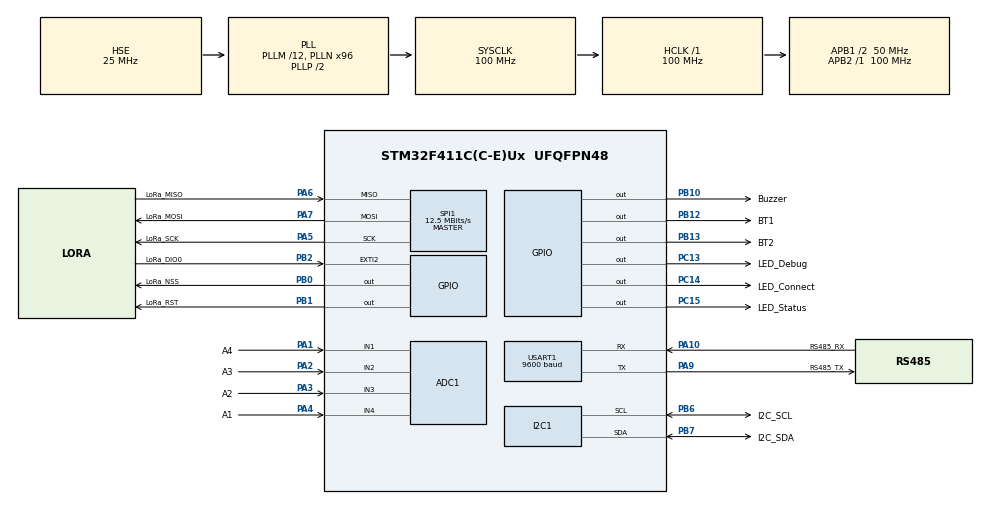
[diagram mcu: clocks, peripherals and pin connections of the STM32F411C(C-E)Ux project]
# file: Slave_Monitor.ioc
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ADC1.Channel-0\#ChannelRegularConversion=ADC_CHANNEL_1
ADC1.Channel-1\#ChannelRegularConversion=ADC_CHANNEL_2
ADC1.Channel-2\#ChannelRegularConversion=ADC_CHANNEL_3
ADC1.Channel-3\#ChannelRegularConversion=ADC_CHANNEL_4
ADC1.NbrOfConversion=4
ADC1.NbrOfConversionFlag=1
ADC1.Rank-0\#ChannelRegularConversion=1
ADC1.Rank-1\#ChannelRegularConversion=2
ADC1.Rank-2\#ChannelRegularConversion=3
ADC1.Rank-3\#ChannelRegularConversion=4
ADC1.SamplingTime-0\#ChannelRegularConversion=ADC_SAMPLETIME_3CYCLES
ADC1.SamplingTime-1\#ChannelRegularConversion=ADC_SAMPLETIME_3CYCLES
ADC1.SamplingTime-2\#ChannelRegularConversion=ADC_SAMPLETIME_3CYCLES
ADC1.SamplingTime-3\#ChannelRegularConversion=ADC_SAMPLETIME_3CYCLES
ADC1.master=1
Dma.ADC1.1.Direction=DMA_PERIPH_TO_MEMORY
Dma.ADC1.1.FIFOMode=DMA_FIFOMODE_DISABLE
Dma.ADC1.1.Instance=DMA2_Stream0
Dma.ADC1.1.MemDataAlignment=DMA_MDATAALIGN_HALFWORD
Dma.ADC1.1.MemInc=DMA_MINC_ENABLE
Dma.ADC1.1.Mode=DMA_CIRCULAR
Dma.ADC1.1.PeriphDataAlignment=DMA_PDATAALIGN_HALFWORD
Dma.ADC1.1.PeriphInc=DMA_PINC_DISABLE
Dma.ADC1.1.Priority=DMA_PRIORITY_LOW
Dma.Request0=USART1_RX
Dma.Request1=ADC1
Dma.USART1_RX.0.Direction=DMA_PERIPH_TO_MEMORY
Dma.USART1_RX.0.FIFOMode=DMA_FIFOMODE_DISABLE
Dma.USART1_RX.0.Instance=DMA2_Stream2
Dma.USART1_RX.0.MemDataAlignment=DMA_MDATAALIGN_BYTE
Dma.USART1_RX.0.MemInc=DMA_MINC_ENABLE
Dma.USART1_RX.0.Mode=DMA_CIRCULAR
Dma.USART1_RX.0.PeriphDataAlignment=DMA_PDATAALIGN_BYTE
Dma.USART1_RX.0.PeriphInc=DMA_PINC_DISABLE
Dma.USART1_RX.0.Priority=DMA_PRIORITY_LOW
Mcu.Family=STM32F4
Mcu.Name=STM32F411C(C-E)Ux
Mcu.Package=UFQFPN48
NVIC.DMA2_Stream0_IRQn=true\:0\:0\:false\:false\:true\:false\:true\:true
NVIC.DMA2_Stream2_IRQn=true\:0\:0\:false\:false\:true\:false\:true\:true
NVIC.EXTI2_IRQn=true\:0\:0\:false\:false\:true\:true\:true\:true
NVIC.PriorityGroup=NVIC_PRIORITYGROUP_4
PA1.GPIO_Label=A4
PA1.Signal=ADCx_IN1
PA10.GPIO_Label=RS485_RX
PA10.Mode=Asynchronous
PA10.Signal=USART1_RX
PA13.Mode=Serial_Wire
PA13.Signal=SYS_JTMS-SWDIO
PA14.Mode=Serial_Wire
PA14.Signal=SYS_JTCK-SWCLK
PA2.GPIO_Label=A3
PA2.Signal=ADCx_IN2
PA3.GPIO_Label=A2
PA3.Signal=ADCx_IN3
PA4.GPIO_Label=A1
PA4.Signal=ADCx_IN4
PA5.GPIO_Label=LoRa_SCK
PA5.Mode=Full_Duplex_Master
PA5.Signal=SPI1_SCK
PA6.GPIO_Label=LoRa_MISO
PA6.Mode=Full_Duplex_Master
PA6.Signal=SPI1_MISO
PA7.GPIO_Label=LoRa_MOSI
PA7.Mode=Full_Duplex_Master
PA7.Signal=SPI1_MOSI
PA9.GPIO_Label=RS485_TX
PA9.Mode=Asynchronous
PA9.Signal=USART1_TX
PB0.GPIO_Label=LoRa_NSS
PB0.PinState=GPIO_PIN_SET
PB0.Signal=GPIO_Output
PB1.GPIO_Label=LoRa_RST
PB1.PinState=GPIO_PIN_SET
PB1.Signal=GPIO_Output
PB10.GPIO_Label=Buzzer
PB10.Signal=GPIO_Output
PB12.GPIO_Label=BT1
PB12.Signal=GPIO_Output
PB13.GPIO_Label=BT2
PB13.Signal=GPIO_Output
PB2.GPIO_Label=LoRa_DIO0
PB2.Signal=GPXTI2
PB6.GPIO_Label=I2C_SCL
PB6.Mode=I2C
PB6.Signal=I2C1_SCL
PB7.GPIO_Label=I2C_SDA
PB7.Mode=I2C
PB7.Signal=I2C1_SDA
PC13-ANTI_TAMP.GPIO_Label=LED_Debug
PC13-ANTI_TAMP.Signal=GPIO_Output
PC14-OSC32_IN.GPIO_Label=LED_Connect
PC14-OSC32_IN.PinState=GPIO_PIN_SET
PC14-OSC32_IN.Signal=GPIO_Output
PC15-OSC32_OUT.GPIO_Label=LED_Status
PC15-OSC32_OUT.PinState=GPIO_PIN_SET
PC15-OSC32_OUT.Signal=GPIO_Output
PH0\ -\ OSC_IN.Mode=HSE-External-Oscillator
PH0\ -\ OSC_IN.Signal=RCC_OSC_IN
PH1\ -\ OSC_OUT.Mode=HSE-External-Oscillator
PH1\ -\ OSC_OUT.Signal=RCC_OSC_OUT
ProjectManager.HeapSize=0x200
ProjectManager.StackSize=0x400
ProjectManager.TargetToolchain=MDK-ARM V5
RCC.48MHZClocksFreq_Value=50000000
RCC.AHBFreq_Value=100000000
RCC.APB1CLKDivider=RCC_HCLK_DIV2
RCC.APB1Freq_Value=50000000
RCC.APB1TimFreq_Value=100000000
RCC.APB2Freq_Value=100000000
RCC.APB2TimFreq_Value=100000000
RCC.CortexFreq_Value=100000000
RCC.HCLKFreq_Value=100000000
RCC.HSE_VALUE=25000000
RCC.HSI_VALUE=16000000
RCC.LSE_VALUE=32768
RCC.PLLM=12
RCC.PLLN=96
RCC.PLLSourceVirtual=RCC_PLLSOURCE_HSE
RCC.SYSCLKFreq_VALUE=100000000
RCC.SYSCLKSource=RCC_SYSCLKSOURCE_PLLCLK
RCC.VCOOutputFreq_Value=200000000
SH.ADCx_IN1.0=ADC1_IN1,IN1
SH.ADCx_IN2.0=ADC1_IN2,IN2
SH.ADCx_IN3.0=ADC1_IN3,IN3
SH.ADCx_IN4.0=ADC1_IN4,IN4
SPI1.BaudRatePrescaler=SPI_BAUDRATEPRESCALER_8
SPI1.CalculateBaudRate=12.5 MBits/s
SPI1.Direction=SPI_DIRECTION_2LINES
SPI1.Mode=SPI_MODE_MASTER
SPI1.VirtualType=VM_MASTER
USART1.BaudRate=9600
USART1.VirtualMode=VM_ASYNC
board=custom

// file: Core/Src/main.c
/* USER CODE BEGIN Header */
/**
  ******************************************************************************
  * @file           : main.c
  * @brief          : Main program body
  ******************************************************************************
  * @attention
  *
  * Copyright (c) 2023 STMicroelectronics.
  * All rights reserved.
  *
  * This software is licensed under terms that can be found in the LICENSE file
  * in the root directory of this software component.
  * If no LICENSE file comes with this software, it is provided AS-IS.
  *
  ******************************************************************************
  */
/* USER CODE END Header */
#include "main.h"
#include "adc.h"
#include "dma.h"
#include "i2c.h"
#include "spi.h"
#include "usart.h"
#include "gpio.h"

/* USER CODE BEGIN Includes */
#include <stdlib.h>
#include "Lora.h"
#include "String.h"
#include "CLCD_I2C.h"
/* USER CODE END Includes */

/* USER CODE BEGIN PV */
//
#define address 0x42
#define func		0x30
// LCD
CLCD_I2C_Name mLCD;

// Lora
LoRa mLoRa;
uint8_t LoRa_status = 0;
uint8_t LoraData[128];
uint8_t loraSend[12];
// Time
unsigned long oldtime_1 = 0;
unsigned long oldtime_2 = 0;
unsigned long oldtime_3 = 0;
unsigned long timeDelay_1 = 1000;
unsigned long timeDelay_2 = 500;
unsigned long timeDelay_3 = 50;

// Event
uint8_t loraRCV = 0;
uint8_t rs485RCV = 0;

//RS485
uint8_t dataRS485[7];

// Sensor Value
uint8_t temp_Val[3];
uint8_t WL_Val[3];
uint8_t pH_Val[3];
uint8_t DO_Val[3];
/* USER CODE END PV */

void SystemClock_Config(void);
/* USER CODE BEGIN PFP */
void buzzerRun(void);
void blynkConnect(void);
void loraConnect(void);
void loraInit(void);
void monitorInit(void);
void getTemp(void);
void getWL(void);
void getpH(void);
void getDO(void);
/* USER CODE END PFP */

int main(void)
{

  /* MCU Configuration--------------------------------------------------------*/

  /* Reset of all peripherals, Initializes the Flash interface and the Systick. */
  HAL_Init();

  /* Configure the system clock */
  SystemClock_Config();

  /* Initialize all configured peripherals */
  MX_GPIO_Init();
  MX_DMA_Init();
  MX_SPI1_Init();
  MX_USART1_UART_Init();
  MX_ADC1_Init();
  MX_I2C1_Init();
  /* USER CODE BEGIN 2 */
	monitorInit();
	CLCD_I2C_Clear(&mLCD);
	CLCD_I2C_SetCursor(&mLCD, 1, 0);
	CLCD_I2C_WriteString(&mLCD, "SLAVE MONITOR");
	CLCD_I2C_SetCursor(&mLCD, 3, 1);
	CLCD_I2C_WriteString(&mLCD, "MDF GROUP");
  /* USER CODE END 2 */

  /* Infinite loop */
  /* USER CODE BEGIN WHILE */
  while (1)
  {
		if ((unsigned long) (HAL_GetTick() - oldtime_1) > timeDelay_1) {
			loraConnect();
			HAL_GPIO_TogglePin(LED_Debug_GPIO_Port, LED_Debug_Pin);
			oldtime_1 = HAL_GetTick();
		}
		if ((unsigned long) (HAL_GetTick() - oldtime_2) > timeDelay_2) {
			if (loraRCV) {
				blynkConnect();
				CLCD_I2C_Clear(&mLCD);
				CLCD_I2C_SetCursor(&mLCD, 1, 0);
				CLCD_I2C_WriteString(&mLCD, "SLAVE MONITOR");
				CLCD_I2C_SetCursor(&mLCD, 0, 1);
				CLCD_I2C_WriteString(&mLCD, "Read Sensor...");

				uint8_t data_3[] = "B0\n";
				HAL_UART_Transmit(&huart1, data_3, sizeof(data_3), 10);
				HAL_Delay(50);
				loraRCV = 0;
			}
			if (rs485RCV) {
				CLCD_I2C_Clear(&mLCD);
				CLCD_I2C_SetCursor(&mLCD, 1, 0);
				CLCD_I2C_WriteString(&mLCD, "SLAVE MONITOR");
				CLCD_I2C_SetCursor(&mLCD, 0, 1);
				CLCD_I2C_WriteString(&mLCD, "Send Data...");
				getWL();
				getpH();
				loraSend[0] = address;
				loraSend[1] = func;
				loraSend[2] = pH_Val[0];
				loraSend[3] = pH_Val[1];
				loraSend[4] = pH_Val[2];
				loraSend[5] = temp_Val[0];
				loraSend[6] = temp_Val[1];
				loraSend[7] = temp_Val[2];
				loraSend[8] = WL_Val[0];
				loraSend[9] = WL_Val[1];
				loraSend[10] = WL_Val[2];
				loraSend[11] = '1';
				LoRa_transmit(&mLoRa, loraSend, sizeof(loraSend), 500);
				LoRa_transmit(&mLoRa, loraSend, sizeof(loraSend), 500);
				rs485RCV = 0;
				HAL_Delay(1000);
				CLCD_I2C_Clear(&mLCD);
				CLCD_I2C_SetCursor(&mLCD, 1, 0);
				CLCD_I2C_WriteString(&mLCD, "SLAVE MONITOR");
				CLCD_I2C_SetCursor(&mLCD, 3, 1);
				CLCD_I2C_WriteString(&mLCD, "MDF GROUP");
			}
			oldtime_2 = HAL_GetTick();
		}
    /* USER CODE END WHILE */

  }
}

void SystemClock_Config(void)
{
  RCC_OscInitTypeDef RCC_OscInitStruct = {0};
  RCC_ClkInitTypeDef RCC_ClkInitStruct = {0};

  /** Configure the main internal regulator output voltage
  */
  __HAL_RCC_PWR_CLK_ENABLE();
  __HAL_PWR_VOLTAGESCALING_CONFIG(PWR_REGULATOR_VOLTAGE_SCALE1);

  /** Initializes the RCC Oscillators according to the specified parameters
  * in the RCC_OscInitTypeDef structure.
  */
  RCC_OscInitStruct.OscillatorType = RCC_OSCILLATORTYPE_HSE;
  RCC_OscInitStruct.HSEState = RCC_HSE_ON;
  RCC_OscInitStruct.PLL.PLLState = RCC_PLL_ON;
  RCC_OscInitStruct.PLL.PLLSource = RCC_PLLSOURCE_HSE;
  RCC_OscInitStruct.PLL.PLLM = 12;
  RCC_OscInitStruct.PLL.PLLN = 96;
  RCC_OscInitStruct.PLL.PLLP = RCC_PLLP_DIV2;
  RCC_OscInitStruct.PLL.PLLQ = 4;
  if (HAL_RCC_OscConfig(&RCC_OscInitStruct) != HAL_OK)
  {
    Error_Handler();
  }

  /** Initializes the CPU, AHB and APB buses clocks
  */
  RCC_ClkInitStruct.ClockType = RCC_CLOCKTYPE_HCLK|RCC_CLOCKTYPE_SYSCLK
                              |RCC_CLOCKTYPE_PCLK1|RCC_CLOCKTYPE_PCLK2;
  RCC_ClkInitStruct.SYSCLKSource = RCC_SYSCLKSOURCE_PLLCLK;
  RCC_ClkInitStruct.AHBCLKDivider = RCC_SYSCLK_DIV1;
  RCC_ClkInitStruct.APB1CLKDivider = RCC_HCLK_DIV2;
  RCC_ClkInitStruct.APB2CLKDivider = RCC_HCLK_DIV1;

  if (HAL_RCC_ClockConfig(&RCC_ClkInitStruct, FLASH_LATENCY_3) != HAL_OK)
  {
    Error_Handler();
  }
}

/* USER CODE BEGIN 4 */
// Get Temp
void getTemp(void) {
	int valTemp = 295+rand()%5;
	temp_Val[0] = (int)valTemp/100 + 48;
	temp_Val[1] = (int)((valTemp/10)%10) + 48;
	temp_Val[2] = (int)valTemp%10 + 48;
}
// Get WL
void getWL(void) {
	int valWL = 170+rand()%5;
	WL_Val[0] = (int)valWL/100 + 48;
	WL_Val[1] = (int)((valWL/10)%10) + 48;
	WL_Val[2] = (int)valWL%10 + 48;
}
// Get PH
void getpH(void) {
	int valpH = 77+rand()%3;
	pH_Val[0] = 48;
	pH_Val[1] = (int)valpH/10 + 48;
	pH_Val[2] = (int)valpH%10 + 48;
}

void getDO(void) {
	int doVal = 55+rand()%3;
	DO_Val[0] = 48;
	DO_Val[1] = (int)doVal/10 + 48;
	DO_Val[2] = (int)doVal%10 + 48;
}

// Monitor Init
void monitorInit(void) {
	temp_Val[0] = '2';
	temp_Val[1] = '7';
	temp_Val[2] = '5';

	WL_Val[0] = '1';
	WL_Val[1] = '7';
	WL_Val[2] = '2';

	pH_Val[0] = '0';
	pH_Val[1] = '7';
	pH_Val[2] = '8';

	DO_Val[0] = '0';
	DO_Val[1] = '5';
	DO_Val[2] = '7';

	CLCD_I2C_Init(&mLCD,&hi2c1, 0x4E, 16,2);

	HAL_UART_Receive_DMA(&huart1, dataRS485, 7);

	loraInit();
	loraConnect();
	HAL_Delay(200);

	CLCD_I2C_Clear(&mLCD);
	CLCD_I2C_SetCursor(&mLCD, 0, 0);
	CLCD_I2C_WriteString(&mLCD, "Init Done!");

	buzzerRun();
}
// Interrupt
void HAL_GPIO_EXTI_Callback(uint16_t GPIO_Pin) {
	if(GPIO_Pin == mLoRa.DIO0_pin) {
		LoRa_receive(&mLoRa, LoraData, 128);
		if((LoraData[0] == 'B') && (LoraData[1] == '0'))  loraRCV = 1;			// Kiem tra nhan du lieu
	}
}
// RS485 Receive
void HAL_UART_RxCpltCallback(UART_HandleTypeDef *huart) {
  if(huart->Instance == USART1) {
		if((dataRS485[0] == 'A') && (dataRS485[1]=='0')) {
			pH_Val[0] = dataRS485[3];
			pH_Val[1] = dataRS485[4];
			pH_Val[2] = dataRS485[5];
			rs485RCV = 1;
		}
		else if ((dataRS485[0] == 'B') && (dataRS485[1]=='0')) {
			temp_Val[0] = dataRS485[3];
			temp_Val[1] = dataRS485[4];
			temp_Val[2] = dataRS485[5];
			rs485RCV = 1;
		}
	}
}
// Buzzer run
void buzzerRun(void) {
	for(int i = 0; i < 3; i++) {
		HAL_GPIO_WritePin(Buzzer_GPIO_Port, Buzzer_Pin, GPIO_PIN_SET);
		HAL_Delay(100);
		HAL_GPIO_WritePin(Buzzer_GPIO_Port, Buzzer_Pin, GPIO_PIN_RESET);
		HAL_Delay(100);
	}
}
//Blynk
void blynkConnect(void) {
	for(int i = 0; i < 5; i++) {
		HAL_GPIO_WritePin(LED_Status_GPIO_Port, LED_Status_Pin, GPIO_PIN_RESET);
		HAL_Delay(50);
		HAL_GPIO_WritePin(LED_Status_GPIO_Port, LED_Status_Pin, GPIO_PIN_SET);
		HAL_Delay(50);
	}
}
// ConnectLoRa
void loraConnect(void) {
	if(LoRa_init(&mLoRa) == LORA_OK) {
		LoRa_status = 1;
		HAL_GPIO_WritePin(LED_Connect_GPIO_Port, LED_Connect_Pin, GPIO_PIN_RESET);
	}
	else HAL_GPIO_WritePin(LED_Connect_GPIO_Port, LED_Connect_Pin, GPIO_PIN_SET);

	LoRa_startReceiving(&mLoRa);
}
// Lora Init
void loraInit(void) {
	mLoRa = newLoRa();

	mLoRa.CS_port         = LoRa_NSS_GPIO_Port;
	mLoRa.CS_pin          = LoRa_NSS_Pin;
	mLoRa.reset_port      = LoRa_RST_GPIO_Port;
	mLoRa.reset_pin       = LoRa_RST_Pin;
	mLoRa.DIO0_port       = LoRa_DIO0_GPIO_Port;
	mLoRa.DIO0_pin        = LoRa_DIO0_Pin;
	mLoRa.hSPIx           = &hspi1;

	mLoRa.frequency             = 433;             // default = 433 MHz
	mLoRa.spredingFactor        = SF_10;           // default = SF_7
	mLoRa.bandWidth             = BW_125KHz;       // default = BW_125KHz
	mLoRa.crcRate               = CR_4_5;          // default = CR_4_5
	mLoRa.power                 = POWER_17db;      // default = 20db
	mLoRa.overCurrentProtection = 100;             // default = 100 mA
	mLoRa.preamble              = 8;               // default = 8;
}
/* USER CODE END 4 */

void Error_Handler(void)
{
  __disable_irq();
  while (1)
  {
  }
}
